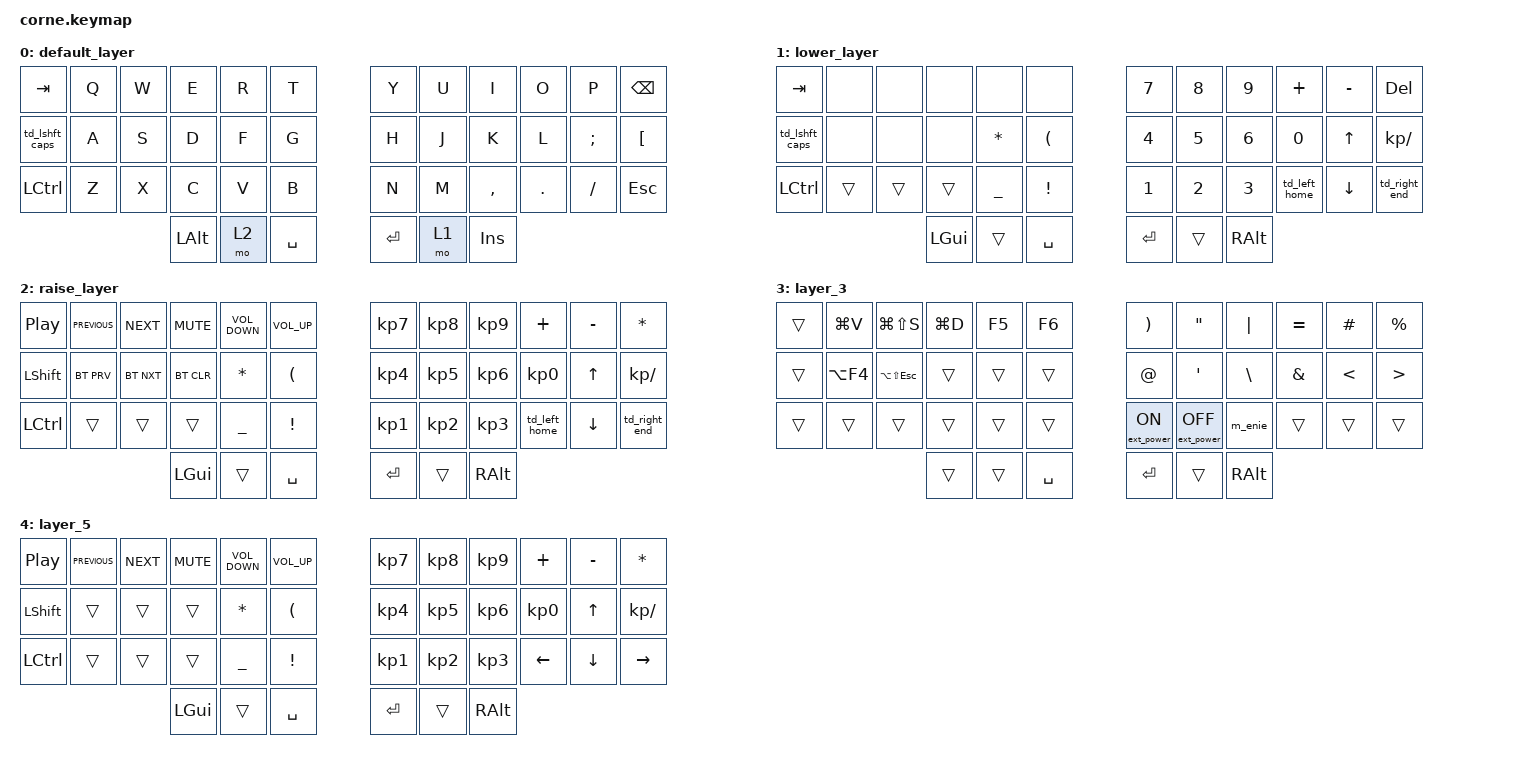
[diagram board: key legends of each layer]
#include <behaviors.dtsi>
#include <dt-bindings/zmk/bt.h>
#include <dt-bindings/zmk/ext_power.h>
#include <dt-bindings/zmk/keys.h>

/ {
    combos {
        compatible = "zmk,combos";
        music {
            bindings = <&tog 4>;
            key-positions = <36 37 38>;
        };
    };

    macros {
        m_enie: m_enie {
            label = "M_ENIE";
            compatible = "zmk,behavior-macro";
            #binding-cells = <0>;
            bindings =
                <&macro_press &kp LALT>,
                <&macro_tap &kp KP_NUMBER_0 &kp KP_NUMBER_2 &kp KP_NUMBER_4 &kp KP_NUMBER_1>,
                <&macro_release &kp LALT>;
        };
    };

    behaviors {
        td_lshft_caps: td_lshft_caps {
            compatible = "zmk,behavior-tap-dance";
            label = "TD_LSHFT_CAPS";
            #binding-cells = <0>;
            tapping-term-ms = <200>;
            bindings = <&kp LSHFT>, <&kp CAPS>;
        };
        td_left_home: td_left_home {
            compatible = "zmk,behavior-tap-dance";
            #binding-cells = <0>;
            tapping-term-ms = <200>;
            bindings = <&kp LEFT>, <&kp HOME>;
        };
    
        td_right_end: td_right_end {
            compatible = "zmk,behavior-tap-dance";
            #binding-cells = <0>;
            tapping-term-ms = <200>;
            bindings = <&kp RIGHT>, <&kp END>;
        };
    };

    keymap {
        compatible = "zmk,keymap";
        default_layer {
            bindings = <
&kp TAB         &kp Q  &kp W  &kp E     &kp R  &kp T        &kp Y    &kp U  &kp I       &kp O    &kp P     &kp BSPC
&td_lshft_caps  &kp A  &kp S  &kp D     &kp F  &kp G        &kp H    &kp J  &kp K       &kp L    &kp SEMI  &kp LBKT
&kp LCTRL       &kp Z  &kp X  &kp C     &kp V  &kp B        &kp N    &kp M  &kp COMMA   &kp DOT  &kp FSLH  &kp ESC
                          &kp LALT  &mo 2  &kp SPACE        &kp RET  &mo 1  &kp INSERT
            >;
        };
        lower_layer {
            bindings = <
&kp TAB         &none   &none   &none     &none           &none                   &kp N7        &kp N8        &kp N9        &kp PLUS  &kp MINUS       &kp DELETE
&td_lshft_caps  &none   &none   &none     &kp ASTERISK    &kp LEFT_PARENTHESIS    &kp NUMBER_4  &kp N5        &kp NUMBER_6  &kp N0    &kp UP_ARROW    &kp KP_DIVIDE
&kp LCTRL       &trans  &trans  &trans    &kp UNDERSCORE  &kp EXCL                &kp NUMBER_1  &kp NUMBER_2  &kp NUMBER_3  &td_left_home  &kp DOWN_ARROW  &td_right_end
                                &kp LGUI  &trans          &kp SPACE               &kp RET       &trans        &kp RALT
            >;
        };
        raise_layer {
            bindings = <
&kp C_PLAY_PAUSE  &kp C_PREVIOUS  &kp C_NEXT  &kp C_MUTE  &kp C_VOLUME_DOWN  &kp C_VOLUME_UP         &kp KP_NUMBER_7  &kp KP_NUMBER_8  &kp KP_NUMBER_9  &kp PLUS         &kp MINUS     &kp ASTERISK
&kp LSHFT         &bt BT_PRV      &bt BT_NXT  &bt BT_CLR  &kp ASTERISK       &kp LEFT_PARENTHESIS    &kp KP_NUMBER_4  &kp KP_NUMBER_5  &kp KP_NUMBER_6  &kp KP_NUMBER_0  &kp UP_ARROW  &kp KP_DIVIDE
&kp LCTRL         &trans          &trans      &trans      &kp UNDER          &kp EXCLAMATION         &kp KP_NUMBER_1  &kp KP_NUMBER_2  &kp KP_NUMBER_3  &td_left_home         &kp DOWN      &td_right_end
                                              &kp LGUI    &trans             &kp SPACE               &kp RET          &trans           &kp RALT
            >;
        };
        layer_3 {
            bindings = <
&trans  &kp LG(V)    &kp LG(LS(S))    &kp LG(D)  &kp F5   &kp F6        &kp RIGHT_PARENTHESIS  &kp DOUBLE_QUOTES  &kp PIPE   &kp EQUAL      &kp HASH       &kp PERCENT
&trans  &kp LA(F4)   &kp LA(LS(ESC))  &trans     &trans   &trans        &kp AT                 &kp SINGLE_QUOTE   &kp BSLH   &kp AMPERSAND  &kp LESS_THAN  &kp GREATER_THAN
&trans  &trans       &trans           &trans     &trans   &trans        &ext_power EP_ON       &ext_power EP_OFF  &m_enie    &trans         &trans         &trans
                                      &trans     &trans   &kp SPACE     &kp ENTER              &trans             &kp RIGHT_ALT
            >;
        };
        layer_5 {
            bindings = <
&kp C_PLAY_PAUSE  &kp C_PREVIOUS  &kp C_NEXT  &kp C_MUTE  &kp C_VOLUME_DOWN  &kp C_VOLUME_UP         &kp KP_NUMBER_7  &kp KP_NUMBER_8  &kp KP_NUMBER_9  &kp PLUS         &kp MINUS     &kp ASTERISK
&kp LSHFT         &trans          &trans      &trans      &kp ASTERISK       &kp LEFT_PARENTHESIS    &kp KP_NUMBER_4  &kp KP_NUMBER_5  &kp KP_NUMBER_6  &kp KP_NUMBER_0  &kp UP_ARROW  &kp KP_DIVIDE
&kp LCTRL       &trans          &trans      &trans      &kp UNDER          &kp EXCLAMATION         &kp KP_NUMBER_1  &kp KP_NUMBER_2  &kp KP_NUMBER_3  &kp LEFT         &kp DOWN      &kp RIGHT
                                              &kp LGUI    &trans             &kp SPACE               &kp RET          &trans           &kp RALT
            >;
        };
    };

    conditional_layers {
        compatible = "zmk,conditional-layers";
        extra_layer {
            if-layers = <1 2>;
            then-layer = <3>;
        };
    };
};
